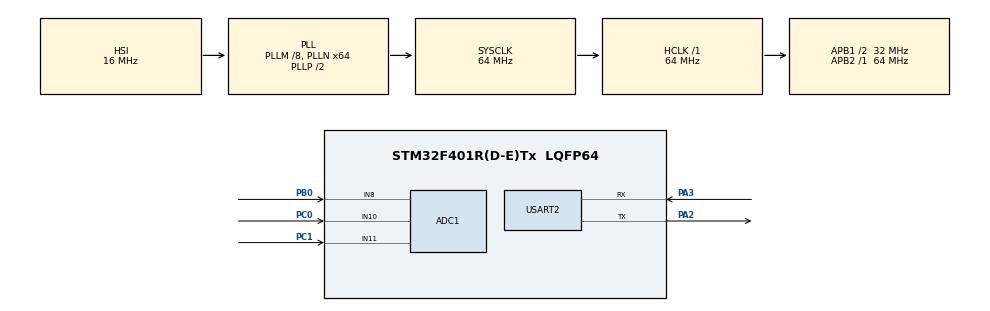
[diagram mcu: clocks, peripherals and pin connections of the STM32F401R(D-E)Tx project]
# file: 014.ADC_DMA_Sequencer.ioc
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ADC1.Channel-0\#ChannelRegularConversion=ADC_CHANNEL_8
ADC1.Channel-1\#ChannelRegularConversion=ADC_CHANNEL_11
ADC1.Channel-2\#ChannelRegularConversion=ADC_CHANNEL_10
ADC1.ClockPrescaler=ADC_CLOCK_SYNC_PCLK_DIV8
ADC1.ContinuousConvMode=ENABLE
ADC1.DMAContinuousRequests=ENABLE
ADC1.ExternalTrigConv=ADC_SOFTWARE_START
ADC1.NbrOfConversion=3
ADC1.NbrOfConversionFlag=1
ADC1.Rank-0\#ChannelRegularConversion=1
ADC1.Rank-1\#ChannelRegularConversion=2
ADC1.Rank-2\#ChannelRegularConversion=3
ADC1.SamplingTime-0\#ChannelRegularConversion=ADC_SAMPLETIME_15CYCLES
ADC1.SamplingTime-1\#ChannelRegularConversion=ADC_SAMPLETIME_15CYCLES
ADC1.SamplingTime-2\#ChannelRegularConversion=ADC_SAMPLETIME_3CYCLES
ADC1.master=1
Dma.ADC1.0.Direction=DMA_PERIPH_TO_MEMORY
Dma.ADC1.0.FIFOMode=DMA_FIFOMODE_DISABLE
Dma.ADC1.0.Instance=DMA2_Stream0
Dma.ADC1.0.MemDataAlignment=DMA_MDATAALIGN_HALFWORD
Dma.ADC1.0.MemInc=DMA_MINC_ENABLE
Dma.ADC1.0.Mode=DMA_CIRCULAR
Dma.ADC1.0.PeriphDataAlignment=DMA_PDATAALIGN_HALFWORD
Dma.ADC1.0.PeriphInc=DMA_PINC_DISABLE
Dma.ADC1.0.Priority=DMA_PRIORITY_LOW
Dma.Request0=ADC1
Mcu.Family=STM32F4
Mcu.Name=STM32F401R(D-E)Tx
Mcu.Package=LQFP64
NVIC.DMA2_Stream0_IRQn=true\:0\:0\:false\:false\:true\:false\:true\:true
NVIC.PriorityGroup=NVIC_PRIORITYGROUP_4
PA13.Mode=Serial_Wire
PA13.Signal=SYS_JTMS-SWDIO
PA14.Mode=Serial_Wire
PA14.Signal=SYS_JTCK-SWCLK
PA2.Mode=Asynchronous
PA2.Signal=USART2_TX
PA3.Mode=Asynchronous
PA3.Signal=USART2_RX
PB0.Signal=ADCx_IN8
PC0.Signal=ADCx_IN10
PC1.Signal=ADCx_IN11
ProjectManager.HeapSize=0x200
ProjectManager.StackSize=0x400
ProjectManager.TargetToolchain=STM32CubeIDE
RCC.48MHZClocksFreq_Value=32000000
RCC.AHBFreq_Value=64000000
RCC.APB1CLKDivider=RCC_HCLK_DIV2
RCC.APB1Freq_Value=32000000
RCC.APB1TimFreq_Value=64000000
RCC.APB2Freq_Value=64000000
RCC.APB2TimFreq_Value=64000000
RCC.CortexFreq_Value=64000000
RCC.HCLKFreq_Value=64000000
RCC.HSE_VALUE=25000000
RCC.HSI_VALUE=16000000
RCC.LSE_VALUE=32768
RCC.PLLM=8
RCC.PLLN=64
RCC.SYSCLKFreq_VALUE=64000000
RCC.SYSCLKSource=RCC_SYSCLKSOURCE_PLLCLK
RCC.VCOOutputFreq_Value=128000000
SH.ADCx_IN10.0=ADC1_IN10,IN10
SH.ADCx_IN11.0=ADC1_IN11,IN11
SH.ADCx_IN8.0=ADC1_IN8,IN8
USART2.VirtualMode=VM_ASYNC
board=custom

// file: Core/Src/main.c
/* USER CODE BEGIN Header */
/**
  ******************************************************************************
  * @file           : main.c
  * @brief          : Main program body
  ******************************************************************************
  * @attention
  *
  * Copyright (c) 2025 STMicroelectronics.
  * All rights reserved.
  *
  * This software is licensed under terms that can be found in the LICENSE file
  * in the root directory of this software component.
  * If no LICENSE file comes with this software, it is provided AS-IS.
  *
  ******************************************************************************
  */
/* USER CODE END Header */
#include "main.h"

/* USER CODE BEGIN Includes */
#include <stdio.h>
/* USER CODE END Includes */

ADC_HandleTypeDef hadc1;
DMA_HandleTypeDef hdma_adc1;

UART_HandleTypeDef huart2;

/* USER CODE BEGIN PV */
volatile uint16_t uwADCxConvertedValue[3];
/* USER CODE END PV */

void SystemClock_Config(void);
static void MX_GPIO_Init(void);
static void MX_DMA_Init(void);
static void MX_ADC1_Init(void);
static void MX_USART2_UART_Init(void);
/* USER CODE BEGIN PFP */
#ifdef __GNUC__
#define PUTCHAR_PROTOTYPE int __io_putchar(int ch)
#else
#define PUTCHAR_PROTOTYPE int fputc(int ch, FILE *f)
#endif

PUTCHAR_PROTOTYPE
{
	if(ch == '\n')
	{
		HAL_UART_Transmit(&huart2, (uint8_t*)"\r", 1, 0xFFFF);
	}
	HAL_UART_Transmit(&huart2, (uint8_t*)&ch, 1, 0xFFFF);
	return ch;
}
/* USER CODE END PFP */

int main(void)
{

  /* MCU Configuration--------------------------------------------------------*/

  /* Reset of all peripherals, Initializes the Flash interface and the Systick. */
  HAL_Init();

  /* Configure the system clock */
  SystemClock_Config();

  /* Initialize all configured peripherals */
  MX_GPIO_Init();
  MX_DMA_Init();
  MX_ADC1_Init();
  MX_USART2_UART_Init();

  /* Infinite loop */
  /* USER CODE BEGIN WHILE */
  //DMA circular일때는 continuous DMA request도 필수로 enable 할 것
  if(HAL_ADC_Start_DMA(&hadc1, (uint32_t*)&uwADCxConvertedValue, 3) != HAL_OK)
  {
	  Error_Handler();
  }
//  printf("\n");
  while (1)
  {

	  printf("X=%4d\tY=%4d\tZ=%4d\n",uwADCxConvertedValue[0],uwADCxConvertedValue[1],uwADCxConvertedValue[2]);
//	  printf("X=%4d\t",uwADCxConvertedValue[0]);
//	  printf("Y=%4d\t",uwADCxConvertedValue[1]);
//	  printf("Z=%4d\n",uwADCxConvertedValue[2]);
	  HAL_Delay(1000);
    /* USER CODE END WHILE */

  }
}

void SystemClock_Config(void)
{
  RCC_OscInitTypeDef RCC_OscInitStruct = {0};
  RCC_ClkInitTypeDef RCC_ClkInitStruct = {0};

  /** Configure the main internal regulator output voltage
  */
  __HAL_RCC_PWR_CLK_ENABLE();
  __HAL_PWR_VOLTAGESCALING_CONFIG(PWR_REGULATOR_VOLTAGE_SCALE2);

  /** Initializes the RCC Oscillators according to the specified parameters
  * in the RCC_OscInitTypeDef structure.
  */
  RCC_OscInitStruct.OscillatorType = RCC_OSCILLATORTYPE_HSI;
  RCC_OscInitStruct.HSIState = RCC_HSI_ON;
  RCC_OscInitStruct.HSICalibrationValue = RCC_HSICALIBRATION_DEFAULT;
  RCC_OscInitStruct.PLL.PLLState = RCC_PLL_ON;
  RCC_OscInitStruct.PLL.PLLSource = RCC_PLLSOURCE_HSI;
  RCC_OscInitStruct.PLL.PLLM = 8;
  RCC_OscInitStruct.PLL.PLLN = 64;
  RCC_OscInitStruct.PLL.PLLP = RCC_PLLP_DIV2;
  RCC_OscInitStruct.PLL.PLLQ = 4;
  if (HAL_RCC_OscConfig(&RCC_OscInitStruct) != HAL_OK)
  {
    Error_Handler();
  }

  /** Initializes the CPU, AHB and APB buses clocks
  */
  RCC_ClkInitStruct.ClockType = RCC_CLOCKTYPE_HCLK|RCC_CLOCKTYPE_SYSCLK
                              |RCC_CLOCKTYPE_PCLK1|RCC_CLOCKTYPE_PCLK2;
  RCC_ClkInitStruct.SYSCLKSource = RCC_SYSCLKSOURCE_PLLCLK;
  RCC_ClkInitStruct.AHBCLKDivider = RCC_SYSCLK_DIV1;
  RCC_ClkInitStruct.APB1CLKDivider = RCC_HCLK_DIV2;
  RCC_ClkInitStruct.APB2CLKDivider = RCC_HCLK_DIV1;

  if (HAL_RCC_ClockConfig(&RCC_ClkInitStruct, FLASH_LATENCY_2) != HAL_OK)
  {
    Error_Handler();
  }
}

static void MX_ADC1_Init(void)
{

  ADC_ChannelConfTypeDef sConfig = {0};

  /** Configure the global features of the ADC (Clock, Resolution, Data Alignment and number of conversion)
  */
  hadc1.Instance = ADC1;
  hadc1.Init.ClockPrescaler = ADC_CLOCK_SYNC_PCLK_DIV8;
  hadc1.Init.Resolution = ADC_RESOLUTION_12B;
  hadc1.Init.ScanConvMode = ENABLE;
  hadc1.Init.ContinuousConvMode = ENABLE;
  hadc1.Init.DiscontinuousConvMode = DISABLE;
  hadc1.Init.ExternalTrigConvEdge = ADC_EXTERNALTRIGCONVEDGE_NONE;
  hadc1.Init.ExternalTrigConv = ADC_SOFTWARE_START;
  hadc1.Init.DataAlign = ADC_DATAALIGN_RIGHT;
  hadc1.Init.NbrOfConversion = 3;
  hadc1.Init.DMAContinuousRequests = ENABLE;
  hadc1.Init.EOCSelection = ADC_EOC_SINGLE_CONV;
  if (HAL_ADC_Init(&hadc1) != HAL_OK)
  {
    Error_Handler();
  }

  /** Configure for the selected ADC regular channel its corresponding rank in the sequencer and its sample time.
  */
  sConfig.Channel = ADC_CHANNEL_8;
  sConfig.Rank = 1;
  sConfig.SamplingTime = ADC_SAMPLETIME_15CYCLES;
  if (HAL_ADC_ConfigChannel(&hadc1, &sConfig) != HAL_OK)
  {
    Error_Handler();
  }

  /** Configure for the selected ADC regular channel its corresponding rank in the sequencer and its sample time.
  */
  sConfig.Channel = ADC_CHANNEL_11;
  sConfig.Rank = 2;
  if (HAL_ADC_ConfigChannel(&hadc1, &sConfig) != HAL_OK)
  {
    Error_Handler();
  }

  /** Configure for the selected ADC regular channel its corresponding rank in the sequencer and its sample time.
  */
  sConfig.Channel = ADC_CHANNEL_10;
  sConfig.Rank = 3;
  sConfig.SamplingTime = ADC_SAMPLETIME_3CYCLES;
  if (HAL_ADC_ConfigChannel(&hadc1, &sConfig) != HAL_OK)
  {
    Error_Handler();
  }

}

static void MX_USART2_UART_Init(void)
{

  huart2.Instance = USART2;
  huart2.Init.BaudRate = 115200;
  huart2.Init.WordLength = UART_WORDLENGTH_8B;
  huart2.Init.StopBits = UART_STOPBITS_1;
  huart2.Init.Parity = UART_PARITY_NONE;
  huart2.Init.Mode = UART_MODE_TX_RX;
  huart2.Init.HwFlowCtl = UART_HWCONTROL_NONE;
  huart2.Init.OverSampling = UART_OVERSAMPLING_16;
  if (HAL_UART_Init(&huart2) != HAL_OK)
  {
    Error_Handler();
  }

}

static void MX_DMA_Init(void)
{

  /* DMA controller clock enable */
  __HAL_RCC_DMA2_CLK_ENABLE();

  /* DMA interrupt init */
  /* DMA2_Stream0_IRQn interrupt configuration */
  HAL_NVIC_SetPriority(DMA2_Stream0_IRQn, 0, 0);
  HAL_NVIC_EnableIRQ(DMA2_Stream0_IRQn);

}

static void MX_GPIO_Init(void)
{

  /* GPIO Ports Clock Enable */
  __HAL_RCC_GPIOC_CLK_ENABLE();
  __HAL_RCC_GPIOA_CLK_ENABLE();
  __HAL_RCC_GPIOB_CLK_ENABLE();

}

void Error_Handler(void)
{
  __disable_irq();
  while (1)
  {
  }
}
